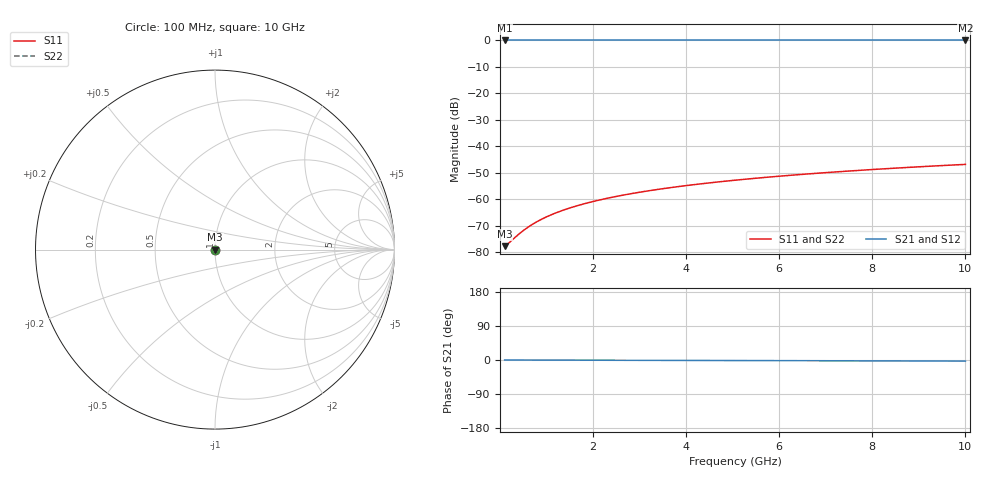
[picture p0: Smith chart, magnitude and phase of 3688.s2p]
# Hz S RI R 50.00
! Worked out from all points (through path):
!   100 points, 100 MHz to 10 GHz, reference 50 ohm
!   highest |S21| = 0.00 dB at 100 MHz (marker M1); lowest = 0.0 dB at 10 GHz (marker M2)
!   lowest |S11| = -77.7 dB at 100 MHz (marker M3), VSWR 1.00, Z = 50 - j0.00451 ohm
!   |S11| at or under -10 dB: start of sweep to end of sweep
!   |S22| runs from -77.7 to -46.8 dB; largest |S21 - S12| = 0
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1e8  0.000123 -4.51e-05  0.9999 -0.000494  0.9999 -0.000494  0.000123 -4.51e-05
2e8  0.000124 -9.02e-05  0.9999 -0.000989  0.9999 -0.000989  0.000124 -9.02e-05
4e8  0.000124 -0.00018  0.9999 -0.00198  0.9999 -0.00198  0.000124 -0.00018
5e8  0.000124 -0.000226  0.9999 -0.00247  0.9999 -0.00247  0.000124 -0.000226
6e8  0.000124 -0.000271  0.9999 -0.00297  0.9999 -0.00297  0.000124 -0.000271
7e8  0.000124 -0.000316  0.9999 -0.00346  0.9999 -0.00346  0.000124 -0.000316
8e8  0.000123 -0.000361  0.9999 -0.00395  0.9999 -0.00395  0.000123 -0.000361
1e9  0.000123 -0.000452  0.9999 -0.00494  0.9999 -0.00494  0.000123 -0.000452
1.2e9  0.000122 -0.000542  0.9999 -0.00593  0.9999 -0.00593  0.000122 -0.000542
1.5e9  0.00012 -0.000678  0.9998 -0.00742  0.9998 -0.00742  0.00012 -0.000678
1.8e9  0.000117 -0.000814  0.9998 -0.0089  0.9998 -0.0089  0.000117 -0.000814
2.1e9  0.000115 -0.000951  0.9998 -0.0104  0.9998 -0.0104  0.000115 -0.000951
2.5e9  0.00011 -0.00113  0.9998 -0.0124  0.9998 -0.0124  0.00011 -0.00113
2.9e9  0.000105 -0.00132  0.9998 -0.0144  0.9998 -0.0144  0.000105 -0.00132
3.4e9  9.74e-05 -0.00154  0.9997 -0.0168  0.9997 -0.0168  9.74e-05 -0.00154
4.2e9  8.29e-05 -0.00191  0.9996 -0.0208  0.9996 -0.0208  8.29e-05 -0.00191
5.1e9  6.3e-05 -0.00232  0.9995 -0.0253  0.9995 -0.0253  6.3e-05 -0.00232
5.9e9  4.22e-05 -0.00269  0.9994 -0.0293  0.9994 -0.0293  4.22e-05 -0.00269
6.7e9  1.83e-05 -0.00306  0.9993 -0.0333  0.9993 -0.0333  1.83e-05 -0.00306
7.5e9  -8.5e-06 -0.00343  0.9991 -0.0373  0.9991 -0.0373  -8.5e-06 -0.00343
8.4e9  -4.22e-05 -0.00385  0.999 -0.0418  0.999 -0.0418  -4.22e-05 -0.00385
1e10  -0.000111 -0.00458  0.9986 -0.0498  0.9986 -0.0498  -0.000111 -0.00458
